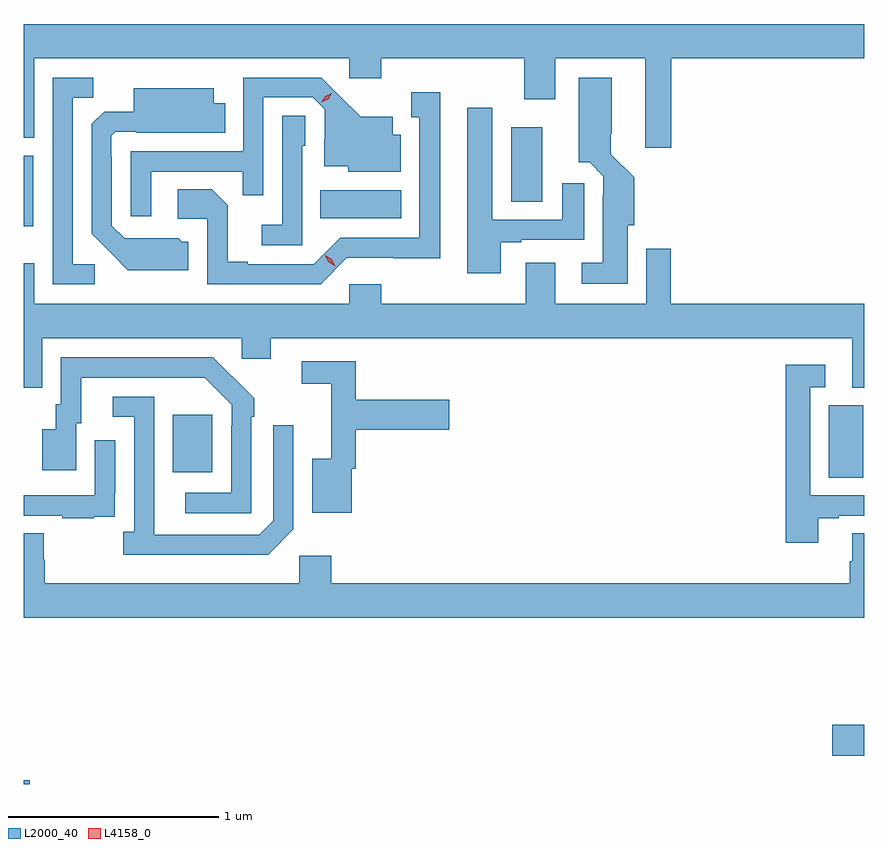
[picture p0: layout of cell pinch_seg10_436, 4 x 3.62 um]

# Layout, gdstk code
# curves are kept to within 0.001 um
import gdstk
lib = gdstk.Library(unit=1e-6, precision=1e-09)
def R(c, l, rs):  # rectangles x0, y0, x1, y1
    for r in rs: c.add(gdstk.rectangle(r[:2], r[2:], *l))
def P(c, l, *ps):  # polygons
    for p in ps: c.add(gdstk.Polygon(p, *l))
L2000_40 = (2000, 40)
L4158_0 = (4158, 0)

pinch_seg10_436 = lib.new_cell('pinch_seg10_436')
R(pinch_seg10_436, L2000_40, [(334.648,1307.517,334.675,1307.534), (338.496,1307.651,338.648,1307.798), (338.48,1308.976,338.644,1309.32), (335.357,1309.001,335.545,1309.276), (334.648,1310.174,334.693,1310.509), (336.058,1310.21,336.445,1310.344), (336.968,1310.29,337.117,1310.644)])
P(pinch_seg10_436, L2000_40, [(337.73,1310.972),(338.648,1310.972),(338.648,1311.136),(334.648,1311.136),(334.648,1310.594),(334.696,1310.594),(334.696,1310.972),(336.198,1310.972),(336.198,1310.877),(336.35,1310.877),(336.35,1310.972),(337.03,1310.972),(337.03,1310.778),(337.177,1310.778),(337.177,1310.972),(337.607,1310.972),(337.607,1310.547),(337.73,1310.547)],
  [(337.522,1310.178),(337.553,1310.178),(337.553,1310.407),(337.443,1310.516),(337.443,1310.614),(337.447,1310.614),(337.447,1310.881),(337.289,1310.881),(337.289,1310.478),(337.341,1310.478),(337.407,1310.412),(337.407,1310.318),(337.403,1310.318),(337.403,1309.999),(337.305,1309.999),(337.305,1309.898),(337.522,1309.898)],
  [(334.984,1309.992),(334.881,1309.992),(334.881,1310.785),(334.977,1310.785),(334.977,1310.88),(334.785,1310.88),(334.785,1309.896),(334.984,1309.896)],
  [(335.253,1310.433),(335.689,1310.433),(335.689,1310.32),(335.787,1310.32),(335.787,1310.787),(336.024,1310.787),(336.081,1310.73),(336.081,1310.588),(336.077,1310.588),(336.077,1310.459),(336.192,1310.459),(336.192,1310.432),(336.442,1310.432),(336.442,1310.608),(336.403,1310.608),(336.403,1310.695),(336.251,1310.695),(336.064,1310.88),(335.691,1310.88),(335.691,1310.529),(335.157,1310.529),(335.157,1310.22),(335.253,1310.22)],
  [(335.431,1310.1),(335.4,1310.1),(335.384,1310.116),(335.127,1310.115),(335.067,1310.175),(335.067,1310.504),(335.064,1310.504),(335.064,1310.604),(335.082,1310.622),(335.182,1310.622),(335.182,1310.618),(335.606,1310.618),(335.606,1310.758),(335.551,1310.758),(335.551,1310.83),(335.171,1310.83),(335.171,1310.719),(335.03,1310.719),(334.971,1310.66),(334.971,1310.138),(335.143,1309.964),(335.431,1309.964)],
  [(336.186,1310.022),(336.631,1310.021),(336.631,1310.812),(336.491,1310.812),(336.491,1310.691),(336.53,1310.691),(336.53,1310.118),(336.153,1310.118),(336.027,1309.992),(335.713,1309.992),(335.713,1310.005),(335.619,1310.005),(335.619,1310.272),(335.543,1310.348),(335.379,1310.348),(335.379,1310.208),(335.52,1310.208),(335.52,1309.896),(336.06,1309.896)],
  [(336.919,1310.097),(337.015,1310.097),(337.015,1310.109),(337.315,1310.109),(337.315,1310.377),(337.211,1310.377),(337.211,1310.205),(336.877,1310.205),(336.877,1310.737),(336.758,1310.737),(336.758,1309.95),(336.919,1309.95)],
  [(335.973,1310.556),(335.988,1310.556),(335.988,1310.699),(335.877,1310.699),(335.877,1310.179),(335.781,1310.179),(335.781,1310.082),(335.973,1310.082)],
  [(334.735,1309.64),(335.685,1309.64),(335.685,1309.542),(335.824,1309.542),(335.824,1309.64),(338.591,1309.64),(338.591,1309.405),(338.648,1309.405),(338.648,1309.804),(337.727,1309.804),(337.727,1310.065),(337.611,1310.065),(337.611,1309.804),(337.177,1309.804),(337.177,1309.999),(337.037,1309.999),(337.037,1309.804),(336.35,1309.804),(336.35,1309.897),(336.198,1309.897),(336.198,1309.804),(334.696,1309.804),(334.696,1309.996),(334.648,1309.996),(334.648,1309.405),(334.735,1309.405)],
  [(335.73,1309.265),(335.745,1309.265),(335.745,1309.353),(335.548,1309.548),(334.824,1309.548),(334.824,1309.326),(334.799,1309.326),(334.799,1309.207),(334.736,1309.207),(334.736,1309.011),(334.897,1309.011),(334.897,1309.236),(334.921,1309.236),(334.921,1309.452),(335.509,1309.452),(335.637,1309.323),(335.637,1309.223),(335.634,1309.223),(335.634,1308.903),(335.415,1308.903),(335.415,1308.807),(335.73,1308.807)],
  [(336.208,1309.017),(336.227,1309.017),(336.227,1309.205),(336.673,1309.205),(336.673,1309.347),(336.227,1309.347),(336.227,1309.53),(335.97,1309.53),(335.97,1309.422),(336.11,1309.422),(336.11,1309.066),(336.02,1309.066),(336.02,1308.809),(336.208,1308.809)],
  [(338.431,1308.783),(338.527,1308.783),(338.527,1308.795),(338.648,1308.795),(338.648,1308.891),(338.391,1308.891),(338.391,1309.407),(338.464,1309.407),(338.464,1309.513),(338.275,1309.513),(338.275,1308.666),(338.431,1308.666)],
  [(335.931,1308.729),(335.931,1309.225),(335.835,1309.225),(335.835,1308.771),(335.769,1308.705),(335.269,1308.705),(335.268,1309.362),(335.07,1309.362),(335.07,1309.266),(335.172,1309.266),(335.172,1308.718),(335.121,1308.718),(335.121,1308.608),(335.81,1308.608)],
  [(334.979,1308.789),(335.081,1308.789),(335.081,1308.898),(335.082,1308.898),(335.082,1309.153),(334.986,1309.153),(334.986,1308.891),(334.648,1308.891),(334.648,1308.795),(334.831,1308.795),(334.831,1308.783),(334.979,1308.783)],
  [(338.648,1308.71),(338.591,1308.71),(338.591,1308.578),(338.579,1308.578),(338.579,1308.472),(336.11,1308.472),(336.11,1308.604),(335.958,1308.604),(335.958,1308.472),(334.748,1308.472),(334.748,1308.585),(334.743,1308.585),(334.743,1308.71),(334.648,1308.71),(334.648,1308.308),(338.648,1308.308)])
P(pinch_seg10_436, L4158_0, [(336.131,1309.982),(336.1,1310.001),(336.082,1310.033),(336.082,1310.034),(336.083,1310.034),(336.114,1310.015),(336.131,1309.982),(336.131,1309.982)],
  [(336.064,1310.763),(336.064,1310.764),(336.082,1310.793),(336.113,1310.807),(336.114,1310.807),(336.114,1310.807),(336.096,1310.778),(336.064,1310.763)])

lib.write_gds('pinch_seg10_436.gds')
